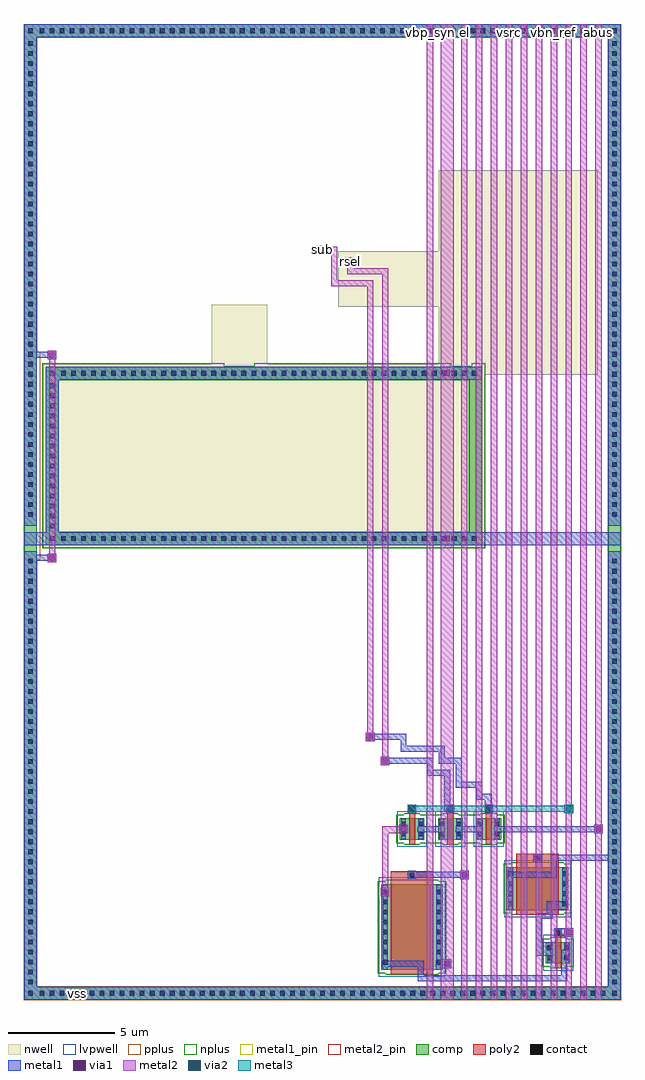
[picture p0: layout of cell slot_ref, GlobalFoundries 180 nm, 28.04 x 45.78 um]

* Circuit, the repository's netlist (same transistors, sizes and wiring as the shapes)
* LVS reference for slot_ref: flattened from cells/neuron/slot.spice by layout/slot/flatten.py
* Cfb (MOM capacitor, value from PEX) omitted: 
.subckt slot_ref rsel sub el vsrc vreset vbn_leak vbp_st vbn_ref vbn_prb en abus vdd vss aux vbp_syn
XXPM_XMF vdd el XPM.prb vss nfet_03v3 W=4u L=2u
XXPM_XME XPM.prb en XPM.s vss nfet_03v3 W=1u L=0.28u
XXPM_XMB XPM.s vbn_prb vss vss nfet_03v3 W=2u L=2u
XXPM_XSC XPM.prb en XPM.mc vss nfet_03v3 W=1u L=0.28u
XXPM_XSW XPM.mc rsel XPM.m vss nfet_03v3 W=1u L=0.28u
XXPM_XSB XPM.m sub abus vss nfet_03v3 W=1u L=0.28u
.ends slot_ref

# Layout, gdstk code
import gdstk
lib = gdstk.Library(unit=1e-6, precision=1e-09)
def R(c, l, rs):  # rectangles x0, y0, x1, y1
    for r in rs: c.add(gdstk.rectangle(r[:2], r[2:], *l))
def A(c, l, x, y, w, h, nx, ny, dx, dy):  # array of equal rectangles
    R(c, l, [(x+i*dx, y+j*dy, x+i*dx+w, y+j*dy+h) for i in range(nx) for j in range(ny)])
nwell = (21, 0)
comp = (22, 0)
poly2 = (30, 0)
pplus = (31, 0)
nplus = (32, 0)
contact = (33, 0)
metal1 = (34, 0)
metal1_pin = (34, 10)
via1 = (35, 0)
metal2 = (36, 0)
metal2_pin = (36, 10)
via2 = (38, 0)
metal3 = (42, 0)
lvpwell = (204, 0)

n_w1_l0p28 = lib.new_cell('n_w1_l0p28')
R(n_w1_l0p28, comp, [(-0.58,-0.5,0.58,0.5)])
R(n_w1_l0p28, poly2, [(-0.14,-0.72,0.14,0.72)])
R(n_w1_l0p28, nplus, [(-0.37,-0.73,0.37,-0.66), (-0.74,-0.66,0.74,0.66), (-0.37,0.66,0.37,0.73)])
R(n_w1_l0p28, contact, [(-0.51,-0.345,-0.29,-0.125), (0.29,-0.345,0.51,-0.125), (-0.51,0.125,-0.29,0.345), (0.29,0.125,0.51,0.345)])
R(n_w1_l0p28, metal1, [(-0.515,-0.49,-0.285,0.49), (0.285,-0.49,0.515,0.49)])
R(n_w1_l0p28, lvpwell, [(-0.7,-0.84,0.7,0.84)])

n_w2_l2 = lib.new_cell('n_w2_l2')
R(n_w2_l2, comp, [(-1.44,-1,1.44,1)])
R(n_w2_l2, poly2, [(-1,-1.22,1,1.22)])
R(n_w2_l2, nplus, [(-1.23,-1.23,1.23,-1.16), (-1.6,-1.16,1.6,1.16), (-1.23,1.16,1.23,1.23)])
A(n_w2_l2, contact, -1.37, -0.815, 0.22, 0.22, 1, 4, 0, 0.47)
A(n_w2_l2, contact, 1.15, -0.815, 0.22, 0.22, 1, 4, 0, 0.47)
R(n_w2_l2, metal1, [(-1.375,-0.99,-1.145,0.99), (1.145,-0.99,1.375,0.99)])
R(n_w2_l2, lvpwell, [(-1.56,-1.34,1.56,1.34)])

n_w4_l2 = lib.new_cell('n_w4_l2')
R(n_w4_l2, comp, [(-1.44,-2,1.44,2)])
R(n_w4_l2, poly2, [(-1,-2.22,1,2.22)])
R(n_w4_l2, nplus, [(-1.23,-2.23,1.23,-2.16), (-1.6,-2.16,1.6,2.16), (-1.23,2.16,1.23,2.23)])
A(n_w4_l2, contact, -1.37, -1.755, 0.22, 0.22, 1, 8, 0, 0.47)
A(n_w4_l2, contact, 1.15, -1.755, 0.22, 0.22, 1, 8, 0, 0.47)
R(n_w4_l2, metal1, [(-1.375,-1.99,-1.145,1.99), (1.145,-1.99,1.375,1.99)])
R(n_w4_l2, lvpwell, [(-1.56,-2.34,1.56,2.34)])

slot_ref = lib.new_cell('slot_ref')
R(slot_ref, nwell, [(0.9,21.2,21.6,29.3), (0.9,29.3,26.9,29.8), (8.8,29.8,11.4,32.6), (19.45,29.8,26.9,32.5), (14.75,32.5,26.9,35.1), (19.45,35.1,26.9,38.9)])
R(slot_ref, comp, [(0,0,28,0.6), (0,0.6,0.6,45.14), (27.4,0.6,28,45.14), (1.02,21.32,21.48,21.92), (1.02,21.92,1.62,29.08), (20.88,21.92,21.48,29.08), (1.02,29.08,21.48,29.68), (0,45.14,28,45.74)])
A(slot_ref, poly2, 18.06, 8.5, 0.28, 0.27, 3, 1, 1.8, 0)
A(slot_ref, poly2, 18.02, 8.77, 0.36, 0.36, 3, 1, 1.8, 0)
R(slot_ref, poly2, [(24.91,2.7,25.19,2.97), (24.87,2.97,25.23,3.33), (17.2,5.4,19.2,6.03), (23.09,6.2,25.09,6.83)])
R(slot_ref, pplus, [(-0.02,-0.02,28.02,0.62), (-0.02,0.62,0.62,20.61), (27.38,0.62,28.02,45.12), (-0.02,20.61,0.76,30.39), (-0.02,30.39,0.62,45.12), (-0.02,45.12,28.02,45.76)])
R(slot_ref, nplus, [(18.94,7.34,19.26,8.66), (20.74,7.34,21.06,8.66), (0.86,21.16,21.64,21.94), (0.86,21.94,1.64,29.06), (20.86,21.94,21.64,29.06), (0.86,29.06,21.64,29.7), (0.86,29.7,9.39,29.84), (10.81,29.7,20.04,29.84), (21.01,29.7,21.64,29.84)])
A(slot_ref, contact, 0.73, 0.19, 0.22, 0.22, 57, 2, 0.47, 45.14)
A(slot_ref, contact, 0.19, 0.715, 0.22, 0.22, 1, 43, 0, 0.47)
A(slot_ref, contact, 27.59, 0.715, 0.22, 0.22, 1, 43, 0, 0.47)
A(slot_ref, contact, 18.09, 8.84, 0.22, 0.22, 3, 1, 1.8, 0)
A(slot_ref, contact, 1.74, 21.51, 0.22, 0.22, 42, 2, 0.47, 7.76)
A(slot_ref, contact, 1.21, 22.1, 0.22, 0.22, 1, 15, 0, 0.47)
A(slot_ref, contact, 0.19, 22.64, 0.22, 0.22, 1, 48, 0, 0.47)
A(slot_ref, contact, 27.59, 22.64, 0.22, 0.22, 1, 48, 0, 0.47)
R(slot_ref, contact, [(0.19,0.19,0.41,0.41), (27.59,0.19,27.81,0.41), (24.94,3.04,25.16,3.26), (18.09,5.74,18.31,5.96), (23.98,6.54,24.2,6.76), (1.21,21.51,1.43,21.73), (1.21,29.27,1.43,29.49), (0.19,45.33,0.41,45.55), (27.59,45.33,27.81,45.55)])
R(slot_ref, metal1, [(0,0,28,0.6), (0,0.6,0.6,20.58), (27.4,0.6,28,6.51), (18.46,0.86,25.49,1.14), (18.46,1.14,18.74,1.54), (25.21,1.14,25.49,2.34), (19.575,1.48,20.05,1.54), (16.8,1.54,18.74,1.82), (19.32,1.54,20.05,1.82), (19.575,1.82,20.05,1.88), (24.01,2.06,24.79,2.34), (24.01,2.34,24.535,2.69), (24.01,2.69,24.29,3.78), (25.35,2.95,25.75,2.96), (24.86,2.96,25.75,3.34), (25.35,3.34,25.75,3.35), (24.01,3.78,24.79,4.06), (24.51,4.06,24.79,4.21), (24.51,4.21,25.235,4.34), (24.51,4.34,25.49,4.62), (16.74,4.84,17.14,5.24), (20.45,5.65,20.85,5.71), (18.01,5.66,18.39,5.71), (18.01,5.71,20.85,5.99), (22.69,5.71,24.99,5.99), (18.01,5.99,18.39,6.04), (20.45,5.99,20.85,6.05), (24.71,5.99,24.99,6.51), (23.89,6.45,24.29,6.85), (24.71,6.51,28,6.79), (27.4,6.79,28,21.02), (17.6,7.8,18,8.2), (26.75,7.8,27.15,7.86), (18.46,7.86,19.74,8.14), (20.26,7.86,21.49,8.14), (22.06,7.86,27.15,8.14), (26.75,8.14,27.15,8.2), (18,8.75,18.4,9.15), (19.81,8.76,20.19,8.81), (21.61,8.76,21.99,9.14), (19.71,8.81,20.19,9.14), (19.71,9.14,19.99,10.5), (21.61,9.14,21.94,9.38), (21.21,9.38,21.94,9.66), (21.21,9.66,21.49,9.94), (20.26,9.94,21.49,10.22), (20.26,10.22,20.54,11.06), (18.91,10.5,19.99,10.78), (18.91,10.78,19.19,11.06), (16.74,11,17.14,11.06), (16.74,11.06,19.19,11.34), (19.46,11.06,20.54,11.34), (16.74,11.34,17.14,11.4), (19.46,11.34,19.74,11.62), (17.66,11.62,19.74,11.9), (17.66,11.9,17.94,12.18), (16.04,12.12,16.44,12.18), (16.04,12.18,17.94,12.46), (16.04,12.46,16.44,12.52), (1.12,20.52,1.52,20.58), (0,20.58,1.52,20.86), (0,20.86,0.6,21.02), (1.12,20.86,1.52,20.92), (0,21.32,28,21.92), (1.02,21.92,1.62,29.08), (0,22.22,0.6,30.1), (27.4,22.22,28,45.14), (1.02,29.08,21.48,29.68), (1.12,30.04,1.52,30.1), (0,30.1,1.52,30.38), (0,30.38,0.6,45.14), (1.12,30.38,1.52,30.44), (0,45.14,28,45.74)])
R(slot_ref, metal1_pin, [(2,0.1,3,0.5)])
R(slot_ref, via1, [(19.72,1.55,19.98,1.81), (25.42,3.02,25.68,3.28), (16.81,4.91,17.07,5.17), (20.52,5.72,20.78,5.98), (23.96,6.52,24.22,6.78), (17.67,7.87,17.93,8.13), (26.82,7.87,27.08,8.13), (18.07,8.82,18.33,9.08), (16.81,11.07,17.07,11.33), (16.11,12.19,16.37,12.45), (1.19,20.59,1.45,20.85), (19.72,21.49,19.98,21.75), (19.72,29.25,19.98,29.51), (1.19,30.11,1.45,30.37)])
A(slot_ref, metal2, 21.2, 0, 0.3, 45.74, 4, 1, 0.7, 0)
R(slot_ref, metal2, [(18.9,0,19.2,45.74), (19.55,0,20.15,45.74), (20.5,0,20.8,5.65), (24,0,24.3,6.45), (24.7,0,25,45.74), (25.4,0,25.7,2.95), (26.1,0,26.4,45.74), (26.8,0,27.1,7.8), (25.35,2.95,25.75,3.35), (25.4,3.35,25.7,8.75), (16.74,4.84,17.14,5.24), (16.8,5.24,17.08,7.8), (20.45,5.65,20.85,6.05), (20.5,6.05,20.8,45.74), (23.89,6.45,24.3,6.85), (24,6.85,24.3,45.74), (16.8,7.8,18,8.14), (26.75,7.8,27.15,8.2), (17.6,8.14,18,8.2), (26.8,8.2,27.1,45.74), (18,8.75,18.4,9.15), (25.35,8.75,25.75,9.15), (25.4,9.15,25.7,45.74), (16.74,11,17.14,11.4), (16.8,11.4,17.08,34.02), (16.04,12.12,16.44,12.52), (16.1,12.52,16.38,33.46), (1.12,20.52,1.52,20.92), (1.18,20.92,1.46,30.04), (1.12,30.04,1.52,30.44), (14.42,33.46,16.38,33.74), (14.42,33.74,14.7,34.98), (15.16,34.02,17.08,34.3), (15.16,34.3,15.5,34.42), (15.1,34.42,15.5,34.82), (13.8,34.98,14.7,35.32), (13.8,35.32,14.2,35.38)])
A(slot_ref, metal2_pin, 20.5, 45.14, 0.3, 0.4, 10, 1, 0.7, 0)
R(slot_ref, metal2_pin, [(15.1,34.42,15.5,34.82), (13.8,34.98,14.2,35.38), (18.9,45.14,19.2,45.54), (19.55,45.14,20.15,45.54)])
R(slot_ref, via2, [(18.07,8.82,18.33,9.08), (25.42,8.82,25.68,9.08)])
R(slot_ref, metal3, [(18,8.75,18.4,8.81), (25.35,8.75,25.75,8.81), (18,8.81,25.75,9.09), (18,9.09,18.4,9.15), (25.35,9.09,25.75,9.15)])
slot_ref.add(gdstk.Reference(n_w1_l0p28, (21.8,8)))
slot_ref.add(gdstk.Reference(n_w1_l0p28, (20,8)))
slot_ref.add(gdstk.Reference(n_w1_l0p28, (18.2,8)))
slot_ref.add(gdstk.Reference(n_w2_l2, (24.09,5.2)))
slot_ref.add(gdstk.Reference(n_w1_l0p28, (25.05,2.2)))
slot_ref.add(gdstk.Reference(n_w4_l2, (18.2,3.4)))
slot_ref.add(gdstk.Label('vss', (2.5,0.3), layer=34, texttype=10))
slot_ref.add(gdstk.Label('vbp_syn', (19.05,45.34), layer=36, texttype=10))
slot_ref.add(gdstk.Label('vdd', (19.85,45.34), layer=36, texttype=10))
slot_ref.add(gdstk.Label('el', (20.65,45.34), layer=36, texttype=10))
slot_ref.add(gdstk.Label('aux', (21.35,45.34), layer=36, texttype=10))
slot_ref.add(gdstk.Label('vbn_leak', (22.05,45.34), layer=36, texttype=10))
slot_ref.add(gdstk.Label('vsrc', (22.75,45.34), layer=36, texttype=10))
slot_ref.add(gdstk.Label('vbp_st', (23.45,45.34), layer=36, texttype=10))
slot_ref.add(gdstk.Label('vbn_prb', (24.15,45.34), layer=36, texttype=10))
slot_ref.add(gdstk.Label('vbn_ref', (24.85,45.34), layer=36, texttype=10))
slot_ref.add(gdstk.Label('en', (25.55,45.34), layer=36, texttype=10))
slot_ref.add(gdstk.Label('vreset', (26.25,45.34), layer=36, texttype=10))
slot_ref.add(gdstk.Label('abus', (26.95,45.34), layer=36, texttype=10))
slot_ref.add(gdstk.Label('rsel', (15.3,34.62), layer=36, texttype=10))
slot_ref.add(gdstk.Label('sub', (14,35.18), layer=36, texttype=10))

lib.write_gds('slot_ref.gds')
